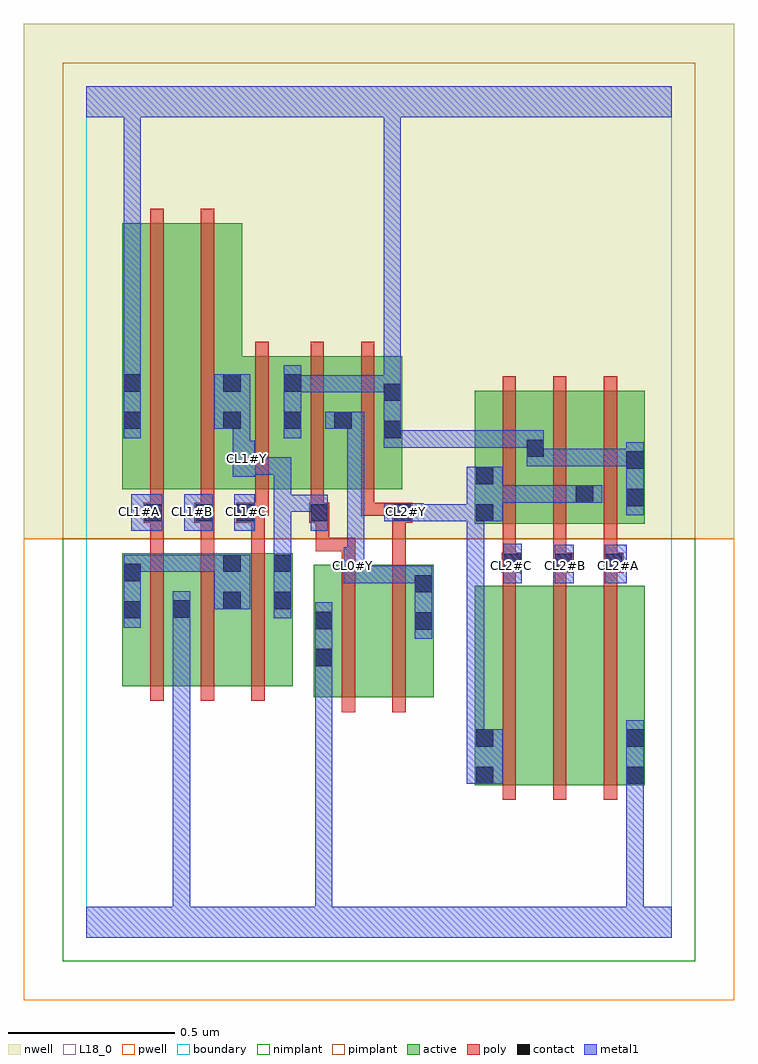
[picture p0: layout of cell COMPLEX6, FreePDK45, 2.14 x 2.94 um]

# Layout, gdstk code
import gdstk
lib = gdstk.Library(unit=1e-6, precision=1e-09)
def R(c, l, rs):  # rectangles x0, y0, x1, y1
    for r in rs: c.add(gdstk.rectangle(r[:2], r[2:], *l))
def A(c, l, x, y, w, h, nx, ny, dx, dy):  # array of equal rectangles
    R(c, l, [(x+i*dx, y+j*dy, x+i*dx+w, y+j*dy+h) for i in range(nx) for j in range(ny)])
active = (1, 0)
pwell = (2, 0)
nwell = (3, 0)
nimplant = (4, 0)
pimplant = (5, 0)
poly = (9, 0)
contact = (10, 0)
metal1 = (11, 0)
L18_0 = (18, 0)
boundary = (235, 0)

complex6 = lib.new_cell('COMPLEX6')
A(complex6, active, 0.256, 0.756, 0.06, 0.4, 3, 1, 0.152, 0)
R(complex6, active, [(1.168,0.458,1.228,1.058), (1.168,0.458,1.348,1.058), (1.348,0.458,1.5,1.058), (1.5,0.458,1.68,1.058), (1.62,0.458,1.68,1.058), (0.684,0.722,0.744,1.122), (0.684,0.722,0.864,1.122), (0.864,0.722,1.044,1.122), (0.984,0.722,1.044,1.122), (0.108,0.756,0.168,1.156), (0.108,0.756,0.316,1.156), (0.256,0.756,0.468,1.156), (0.408,0.756,0.62,1.156), (1.168,1.244,1.228,1.644), (1.168,1.244,1.38,1.644), (1.32,1.244,1.38,1.644), (1.32,1.244,1.528,1.644), (1.468,1.244,1.528,1.644), (1.468,1.244,1.68,1.644), (1.62,1.244,1.68,1.644), (0.108,1.348,0.288,2.148), (0.108,1.348,0.168,2.044), (0.288,1.348,0.468,2.148), (0.408,1.348,0.65,1.748), (0.408,1.348,0.468,1.716), (0.59,1.348,0.65,1.748), (0.59,1.348,0.802,1.748), (0.742,1.348,0.95,1.748), (0.89,1.348,0.95,1.748), (0.742,1.526,0.802,1.644)])
R(complex6, pwell, [(-0.188,-0.188,1.948,1.2)])
R(complex6, nwell, [(-0.188,1.2,1.948,2.748)])
R(complex6, nimplant, [(-0.072,-0.072,1.832,1.2)])
R(complex6, pimplant, [(-0.072,1.2,1.832,2.632)])
A(complex6, poly, 1.252, 0.414, 0.04, 0.688, 3, 1, 0.152, 0)
A(complex6, poly, 0.192, 0.712, 0.04, 0.488, 3, 1, 0.152, 0)
A(complex6, poly, 1.252, 1.062, 0.04, 0.076, 3, 1, 0.152, 0)
A(complex6, poly, 1.252, 1.118, 0.04, 0.122, 3, 1, 0.152, 0)
A(complex6, poly, 0.192, 1.16, 0.04, 0.128, 3, 1, 0.152, 0)
A(complex6, poly, 1.252, 1.2, 0.04, 0.488, 3, 1, 0.152, 0)
R(complex6, poly, [(0.768,0.678,0.808,1.166), (0.92,0.678,0.96,1.166), (1.25,1.098,1.31,1.158), (1.252,1.098,1.292,1.138), (1.252,1.098,1.292,1.138), (1.404,1.098,1.464,1.158), (1.556,1.098,1.596,1.138), (1.556,1.098,1.596,1.138), (1.556,1.098,1.616,1.158), (1.404,1.118,1.444,1.158), (1.404,1.118,1.444,1.158), (0.768,1.126,0.808,1.202), (0.92,1.126,0.96,1.288), (0.69,1.162,0.73,1.288), (0.69,1.162,0.808,1.202), (0.172,1.248,0.232,1.308), (0.324,1.248,0.384,1.308), (0.344,1.248,0.384,1.288), (0.344,1.248,0.384,1.288), (0.45,1.248,0.536,1.308), (0.67,1.248,0.73,1.308), (0.92,1.248,0.98,1.308), (0.192,1.268,0.232,1.308), (0.192,1.268,0.232,1.308), (0.192,1.268,0.232,1.344), (0.344,1.268,0.384,1.344), (0.496,1.268,0.536,1.308), (0.496,1.268,0.548,1.308), (0.508,1.268,0.548,1.344), (0.674,1.268,0.714,1.344), (0.826,1.268,0.866,1.344), (0.826,1.268,0.96,1.308), (0.92,1.268,0.96,1.308), (0.192,1.304,0.232,2.192), (0.344,1.304,0.384,2.192), (0.508,1.304,0.548,1.792), (0.674,1.304,0.714,1.792), (0.826,1.304,0.866,1.792)])
R(complex6, contact, [(1.172,0.462,1.224,0.514), (1.624,0.462,1.676,0.514), (1.172,0.574,1.224,0.626), (1.624,0.574,1.676,0.626), (0.688,0.816,0.74,0.868), (0.988,0.926,1.04,0.978), (0.688,0.928,0.74,0.98), (0.112,0.96,0.164,1.012), (0.26,0.962,0.312,1.014), (0.412,0.988,0.464,1.04), (0.564,0.988,0.616,1.04), (0.988,1.038,1.04,1.09), (0.112,1.072,0.164,1.124), (0.412,1.1,0.464,1.152), (0.564,1.1,0.616,1.152), (1.254,1.102,1.306,1.154), (1.408,1.102,1.46,1.154), (1.56,1.102,1.612,1.154), (0.176,1.252,0.228,1.304), (0.328,1.252,0.38,1.304), (0.454,1.252,0.506,1.304), (0.674,1.252,0.726,1.304), (0.924,1.252,0.976,1.304), (1.172,1.252,1.224,1.304), (1.624,1.298,1.676,1.35), (1.472,1.308,1.524,1.36), (1.172,1.364,1.224,1.416), (1.624,1.41,1.676,1.462), (1.324,1.446,1.376,1.498), (0.894,1.502,0.946,1.554), (0.112,1.53,0.164,1.582), (0.412,1.53,0.464,1.582), (0.594,1.53,0.646,1.582), (0.746,1.53,0.798,1.582), (0.894,1.614,0.946,1.666), (0.112,1.642,0.164,1.694), (0.412,1.642,0.464,1.694), (0.594,1.642,0.646,1.694)])
R(complex6, metal1, [(0,0,1.76,0.092), (0.26,0.04,0.312,0.986), (0.688,0.04,0.74,0.092), (0.688,0.04,0.74,0.092), (0.688,0.04,0.74,0.092), (0.688,0.04,0.74,0.092), (0.688,0.04,0.74,0.092), (0.688,0.04,0.74,0.092), (0.688,0.04,0.74,0.092), (0.688,0.04,0.74,0.092), (0.688,0.04,0.74,0.092), (0.688,0.04,0.74,0.092), (0.688,0.04,0.74,0.092), (0.688,0.04,0.74,0.092), (0.688,0.04,0.74,0.84), (1.624,0.04,1.676,0.092), (1.624,0.04,1.676,0.092), (1.624,0.04,1.676,0.486), (1.624,0.434,1.676,0.486), (1.624,0.434,1.676,0.486), (1.624,0.434,1.676,0.486), (1.624,0.434,1.676,0.486), (1.624,0.434,1.676,0.486), (1.624,0.434,1.676,0.486), (1.624,0.434,1.676,0.654), (1.144,0.462,1.252,0.626), (1.144,0.574,1.196,1.304), (0.688,0.788,0.74,1.008), (0.988,0.898,1.04,1.118), (0.112,0.932,0.164,1.152), (0.26,0.934,0.312,0.986), (0.26,0.934,0.312,0.986), (0.26,0.934,0.312,0.986), (0.26,0.934,0.312,0.986), (0.26,0.934,0.312,0.986), (0.26,0.934,0.312,0.986), (0.26,0.934,0.312,0.986), (0.26,0.934,0.312,0.986), (0.26,0.934,0.312,0.986), (0.26,0.934,0.312,0.986), (0.26,0.934,0.312,0.986), (0.26,0.934,0.312,0.986), (0.26,0.934,0.312,1.042), (0.564,0.96,0.616,1.18), (0.384,0.988,0.492,1.152), (0.774,1.066,0.836,1.174), (0.784,1.066,0.836,1.118), (0.784,1.066,0.836,1.118), (0.784,1.066,1.04,1.118), (0.988,1.066,1.04,1.118), (0.988,1.066,1.04,1.118), (1.254,1.066,1.31,1.184), (1.408,1.066,1.466,1.182), (1.56,1.066,1.626,1.182), (0.112,1.1,0.164,1.152), (0.112,1.1,0.164,1.152), (0.112,1.1,0.326,1.152), (0.274,1.1,0.326,1.152), (0.274,1.1,0.326,1.152), (0.274,1.1,0.326,1.152), (0.274,1.1,0.436,1.152), (0.784,1.122,0.836,1.174), (0.784,1.122,0.836,1.174), (0.784,1.122,0.836,1.582), (0.564,1.128,0.616,1.18), (0.564,1.128,0.616,1.18), (0.564,1.128,0.616,1.332), (0.134,1.224,0.228,1.334), (0.294,1.224,0.38,1.334), (0.444,1.224,0.506,1.334), (0.674,1.224,0.726,1.332), (0.896,1.252,1.014,1.306), (0.962,1.252,1.014,1.304), (0.962,1.252,1.014,1.304), (0.962,1.252,1.196,1.304), (1.144,1.252,1.196,1.304), (1.144,1.252,1.196,1.304), (1.144,1.252,1.196,1.304), (1.144,1.252,1.196,1.304), (1.144,1.252,1.252,1.416), (1.624,1.27,1.676,1.49), (0.564,1.28,0.616,1.332), (0.564,1.28,0.616,1.332), (0.564,1.28,0.726,1.332), (0.564,1.28,0.616,1.444), (1.2,1.308,1.252,1.36), (1.2,1.308,1.252,1.36), (1.2,1.308,1.386,1.36), (1.334,1.308,1.386,1.36), (1.334,1.308,1.386,1.36), (1.334,1.308,1.386,1.36), (1.334,1.308,1.496,1.36), (1.444,1.308,1.552,1.36), (0.44,1.386,0.506,1.494), (0.454,1.392,0.506,1.444), (0.454,1.392,0.506,1.444), (0.454,1.392,0.616,1.444), (1.324,1.418,1.376,1.47), (1.324,1.418,1.376,1.47), (1.324,1.418,1.496,1.47), (1.324,1.418,1.376,1.526), (1.444,1.418,1.496,1.47), (1.444,1.418,1.676,1.47), (1.624,1.418,1.676,1.47), (1.624,1.418,1.676,1.47), (0.44,1.442,0.492,1.582), (0.894,1.474,0.946,1.694), (0.894,1.474,1.266,1.526), (1.214,1.474,1.266,1.526), (1.214,1.474,1.266,1.526), (1.214,1.474,1.266,1.526), (1.214,1.474,1.376,1.526), (0.112,1.502,0.164,1.722), (0.594,1.502,0.646,1.722), (0.384,1.53,0.492,1.694), (0.718,1.53,0.836,1.582), (0.594,1.64,0.836,1.692), (0.784,1.64,0.836,1.692), (0.784,1.64,0.836,1.692), (0.784,1.64,0.836,1.692), (0.784,1.64,0.946,1.692), (0.894,1.64,0.946,1.692), (0.894,1.64,0.946,1.692), (0.894,1.642,0.946,1.694), (0.894,1.642,0.946,1.694), (0.894,1.642,0.946,1.694), (0.894,1.642,0.946,1.694), (0.894,1.642,0.946,1.694), (0.894,1.642,0.946,1.694), (0.894,1.642,0.946,1.694), (0.894,1.642,0.946,1.694), (0.894,1.642,0.946,2.52), (0.112,1.67,0.164,1.722), (0.112,1.67,0.164,1.722), (0.112,1.67,0.164,1.722), (0.112,1.67,0.164,1.722), (0.112,1.67,0.164,1.722), (0.112,1.67,0.164,1.722), (0.112,1.67,0.164,1.722), (0.112,1.67,0.164,1.722), (0.112,1.67,0.164,2.52), (0,2.468,1.76,2.56), (0.894,2.468,0.946,2.52), (0.894,2.468,0.946,2.52), (0.894,2.468,0.946,2.52), (0.894,2.468,0.946,2.52), (0.894,2.468,0.946,2.52), (0.894,2.468,0.946,2.52), (0.894,2.468,0.946,2.52), (0.894,2.468,0.946,2.52)])
A(complex6, L18_0, 1.254, 1.094, 0.052, 0.052, 3, 1, 0.16, 0)
A(complex6, L18_0, 0.134, 1.254, 0.052, 0.052, 3, 1, 0.16, 0)
R(complex6, L18_0, [(0,0,1.76,0.092), (0.26,0.04,0.312,0.986), (0.688,0.04,0.74,0.092), (0.688,0.04,0.74,0.092), (0.688,0.04,0.74,0.092), (0.688,0.04,0.74,0.092), (0.688,0.04,0.74,0.092), (0.688,0.04,0.74,0.092), (0.688,0.04,0.74,0.092), (0.688,0.04,0.74,0.092), (0.688,0.04,0.74,0.092), (0.688,0.04,0.74,0.092), (0.688,0.04,0.74,0.092), (0.688,0.04,0.74,0.092), (0.688,0.04,0.74,0.84), (1.624,0.04,1.676,0.092), (1.624,0.04,1.676,0.092), (1.624,0.04,1.676,0.486), (1.624,0.434,1.676,0.654), (1.624,0.434,1.676,0.486), (1.624,0.434,1.676,0.486), (1.624,0.434,1.676,0.486), (1.624,0.434,1.676,0.486), (1.624,0.434,1.676,0.486), (1.624,0.434,1.676,0.486), (1.144,0.462,1.252,0.626), (1.144,0.574,1.196,1.304), (0.688,0.788,0.74,1.008), (0.988,0.898,1.04,1.118), (0.26,0.934,0.312,0.986), (0.26,0.934,0.312,0.986), (0.26,0.934,0.312,0.986), (0.26,0.934,0.312,0.986), (0.26,0.934,0.312,0.986), (0.26,0.934,0.312,0.986), (0.26,0.934,0.312,0.986), (0.26,0.934,0.312,0.986), (0.26,0.934,0.312,0.986), (0.26,0.934,0.312,0.986), (0.26,0.934,0.312,0.986), (0.26,0.934,0.312,0.986), (0.26,0.934,0.312,1.042), (0.564,0.96,0.616,1.18), (0.774,1.066,0.836,1.174), (0.784,1.066,0.836,1.118), (0.784,1.066,0.836,1.118), (0.784,1.066,1.04,1.118), (0.988,1.066,1.04,1.118), (0.988,1.066,1.04,1.118), (1.254,1.066,1.31,1.184), (1.408,1.066,1.466,1.182), (1.56,1.066,1.626,1.182), (0.774,1.094,0.826,1.146), (0.784,1.122,0.836,1.174), (0.784,1.122,0.836,1.174), (0.784,1.122,0.836,1.582), (0.564,1.128,0.616,1.18), (0.564,1.128,0.616,1.18), (0.564,1.128,0.616,1.332), (0.134,1.224,0.228,1.334), (0.294,1.224,0.38,1.334), (0.444,1.224,0.506,1.334), (0.674,1.224,0.726,1.332), (0.896,1.252,1.014,1.306), (0.962,1.252,1.014,1.304), (0.962,1.252,1.014,1.304), (0.962,1.252,1.196,1.304), (1.144,1.252,1.196,1.304), (1.144,1.252,1.196,1.304), (1.144,1.252,1.196,1.304), (1.144,1.252,1.196,1.304), (1.144,1.252,1.252,1.416), (0.934,1.254,0.986,1.306), (1.624,1.27,1.676,1.49), (0.564,1.28,0.616,1.332), (0.564,1.28,0.616,1.332), (0.564,1.28,0.616,1.444), (0.564,1.28,0.726,1.332), (1.2,1.308,1.252,1.36), (1.2,1.308,1.252,1.36), (1.2,1.308,1.386,1.36), (1.334,1.308,1.386,1.36), (1.334,1.308,1.386,1.36), (1.334,1.308,1.386,1.36), (1.334,1.308,1.496,1.36), (1.444,1.308,1.552,1.36), (0.44,1.386,0.506,1.494), (0.454,1.392,0.506,1.444), (0.454,1.392,0.506,1.444), (0.454,1.392,0.616,1.444), (0.454,1.414,0.506,1.466), (1.324,1.418,1.376,1.47), (1.324,1.418,1.376,1.47), (1.324,1.418,1.376,1.526), (1.324,1.418,1.496,1.47), (1.444,1.418,1.496,1.47), (1.444,1.418,1.676,1.47), (1.624,1.418,1.676,1.47), (1.624,1.418,1.676,1.47), (0.44,1.442,0.492,1.582), (0.894,1.474,0.946,1.694), (0.894,1.474,1.266,1.526), (1.214,1.474,1.266,1.526), (1.214,1.474,1.266,1.526), (1.214,1.474,1.266,1.526), (1.214,1.474,1.376,1.526), (0.112,1.502,0.164,1.722), (0.594,1.502,0.646,1.722), (0.384,1.53,0.492,1.694), (0.718,1.53,0.836,1.582), (0.594,1.64,0.836,1.692), (0.784,1.64,0.836,1.692), (0.784,1.64,0.836,1.692), (0.784,1.64,0.836,1.692), (0.784,1.64,0.946,1.692), (0.894,1.64,0.946,1.692), (0.894,1.64,0.946,1.692), (0.894,1.642,0.946,1.694), (0.894,1.642,0.946,1.694), (0.894,1.642,0.946,1.694), (0.894,1.642,0.946,1.694), (0.894,1.642,0.946,1.694), (0.894,1.642,0.946,1.694), (0.894,1.642,0.946,1.694), (0.894,1.642,0.946,1.694), (0.894,1.642,0.946,2.52), (0.112,1.67,0.164,1.722), (0.112,1.67,0.164,1.722), (0.112,1.67,0.164,1.722), (0.112,1.67,0.164,1.722), (0.112,1.67,0.164,1.722), (0.112,1.67,0.164,1.722), (0.112,1.67,0.164,1.722), (0.112,1.67,0.164,1.722), (0.112,1.67,0.164,2.52), (0,2.468,1.76,2.56), (0.894,2.468,0.946,2.52), (0.894,2.468,0.946,2.52), (0.894,2.468,0.946,2.52), (0.894,2.468,0.946,2.52), (0.894,2.468,0.946,2.52), (0.894,2.468,0.946,2.52), (0.894,2.468,0.946,2.52), (0.894,2.468,0.946,2.52)])
R(complex6, boundary, [(0,0,1.76,2.56)])
complex6.add(gdstk.Label('CL0#Y', (0.8,1.12), layer=11, texttype=0))
complex6.add(gdstk.Label('CL1#A', (0.16,1.28), layer=11, texttype=0))
complex6.add(gdstk.Label('CL1#B', (0.32,1.28), layer=11, texttype=0))
complex6.add(gdstk.Label('CL1#C', (0.48,1.28), layer=11, texttype=0))
complex6.add(gdstk.Label('CL1#Y', (0.48,1.44), layer=11, texttype=0))
complex6.add(gdstk.Label('CL2#A', (1.6,1.12), layer=11, texttype=0))
complex6.add(gdstk.Label('CL2#B', (1.44,1.12), layer=11, texttype=0))
complex6.add(gdstk.Label('CL2#C', (1.28,1.12), layer=11, texttype=0))
complex6.add(gdstk.Label('CL2#Y', (0.96,1.28), layer=11, texttype=0))

lib.write_gds('COMPLEX6.gds')
